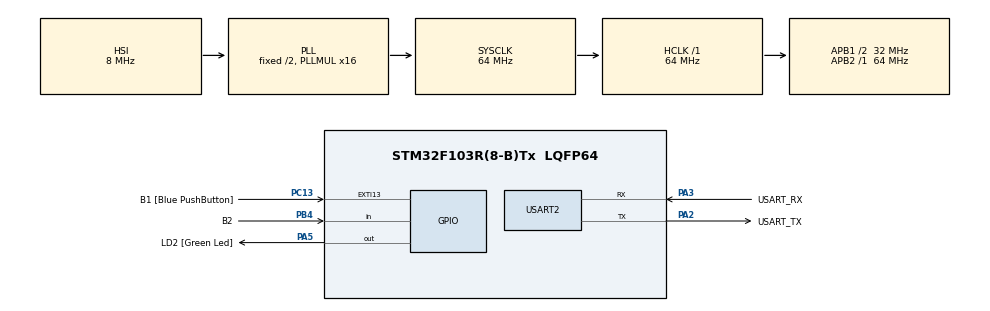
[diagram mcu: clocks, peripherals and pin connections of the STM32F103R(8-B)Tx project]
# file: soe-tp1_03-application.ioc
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FREERTOS.Tasks01=defaultTask,0,128,StartDefaultTask,Default,NULL,Dynamic,NULL,NULL
FREERTOS.configGENERATE_RUN_TIME_STATS=1
FREERTOS.configRECORD_STACK_HIGH_ADDRESS=1
FREERTOS.configUSE_STATS_FORMATTING_FUNCTIONS=1
FREERTOS.configUSE_TRACE_FACILITY=1
Mcu.Family=STM32F1
Mcu.Name=STM32F103R(8-B)Tx
Mcu.Package=LQFP64
NVIC.EXTI15_10_IRQn=true\:5\:0\:false\:false\:true\:true\:true\:true\:true
NVIC.PriorityGroup=NVIC_PRIORITYGROUP_4
NVIC.TIM2_IRQn=true\:5\:0\:false\:false\:true\:true\:true\:true\:true
NVIC.TIM4_IRQn=true\:15\:0\:false\:false\:true\:false\:false\:true\:true
NVIC.TimeBase=TIM4_IRQn
NVIC.TimeBaseIP=TIM4
PA13.GPIO_Label=TMS
PA13.Mode=Serial_Wire
PA13.Signal=SYS_JTMS-SWDIO
PA14.GPIO_Label=TCK
PA14.Mode=Serial_Wire
PA14.Signal=SYS_JTCK-SWCLK
PA2.GPIO_Label=USART_TX
PA2.GPIO_Mode=GPIO_MODE_AF_PP
PA2.GPIO_PuPd=GPIO_NOPULL
PA2.GPIO_Speed=GPIO_SPEED_FREQ_LOW
PA2.Mode=Asynchronous
PA2.Signal=USART2_TX
PA3.GPIO_Label=USART_RX
PA3.GPIO_Mode=GPIO_MODE_AF_PP
PA3.GPIO_PuPd=GPIO_NOPULL
PA3.GPIO_Speed=GPIO_SPEED_FREQ_LOW
PA3.Mode=Asynchronous
PA3.Signal=USART2_RX
PA5.GPIO_Label=LD2 [Green Led]
PA5.GPIO_ModeDefaultOutputPP=GPIO_MODE_OUTPUT_PP
PA5.GPIO_PuPd=GPIO_NOPULL
PA5.GPIO_Speed=GPIO_SPEED_FREQ_LOW
PA5.Signal=GPIO_Output
PB3.GPIO_Label=SWO
PB3.Signal=SYS_JTDO-TRACESWO
PB4.GPIO_Label=B2
PB4.Signal=GPIO_Input
PC13-TAMPER-RTC.GPIO_Label=B1 [Blue PushButton]
PC13-TAMPER-RTC.GPIO_PuPd=GPIO_NOPULL
PC13-TAMPER-RTC.Signal=GPXTI13
PC14-OSC32_IN.Mode=LSE-External-Oscillator
PC14-OSC32_IN.Signal=RCC_OSC32_IN
PC15-OSC32_OUT.Mode=LSE-External-Oscillator
PC15-OSC32_OUT.Signal=RCC_OSC32_OUT
PD0-OSC_IN.Mode=HSE-External-Clock-Source
PD0-OSC_IN.Signal=RCC_OSC_IN
PD1-OSC_OUT.Mode=HSE-External-Clock-Source
PD1-OSC_OUT.Signal=RCC_OSC_OUT
ProjectManager.HeapSize=0x200
ProjectManager.StackSize=0x400
ProjectManager.TargetToolchain=STM32CubeIDE
RCC.AHBFreq_Value=64000000
RCC.APB1CLKDivider=RCC_HCLK_DIV2
RCC.APB1Freq_Value=32000000
RCC.APB1TimFreq_Value=64000000
RCC.APB2Freq_Value=64000000
RCC.APB2TimFreq_Value=64000000
RCC.HCLKFreq_Value=64000000
RCC.PLLMUL=RCC_PLL_MUL16
RCC.RTCClockSelection=RCC_RTCCLKSOURCE_LSE
RCC.SYSCLKFreq_VALUE=64000000
RCC.SYSCLKSource=RCC_SYSCLKSOURCE_PLLCLK
RCC.USBFreq_Value=64000000
TIM2.Period=32000-1
TIM2.Prescaler=2-1
USART2.VirtualMode=VM_ASYNC
VP_FREERTOS_VS_CMSIS_V1.Mode=CMSIS_V1
VP_SYS_VS_tim4.Mode=TIM4
VP_TIM2_VS_ClockSourceINT.Mode=Internal
board=NUCLEO-F103RB

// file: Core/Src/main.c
/* USER CODE BEGIN Header */
/**
  ******************************************************************************
  * @file           : main.c
  * @brief          : Main program body
  ******************************************************************************
  * @attention
  *
  * Copyright (c) 2025 STMicroelectronics.
  * All rights reserved.
  *
  * This software is licensed under terms that can be found in the LICENSE file
  * in the root directory of this software component.
  * If no LICENSE file comes with this software, it is provided AS-IS.
  *
  ******************************************************************************
  */
/* USER CODE END Header */
#include "main.h"
#include "cmsis_os.h"

/* USER CODE BEGIN Includes */
/* Demo includes. */
#include "logger.h"
#include "dwt.h"

/* Application includes. */
#include "app.h"

/* USER CODE END Includes */

TIM_HandleTypeDef htim2;

UART_HandleTypeDef huart2;

osThreadId defaultTaskHandle;
/* USER CODE BEGIN PV */
volatile unsigned long ulHighFrequencyTimerTicks;

/* USER CODE END PV */

void SystemClock_Config(void);
static void MX_GPIO_Init(void);
static void MX_USART2_UART_Init(void);
static void MX_TIM2_Init(void);
void StartDefaultTask(void const * argument);

/* USER CODE BEGIN 0 */
#if (1 == LOGGER_CONFIG_USE_SEMIHOSTING)

extern void initialise_monitor_handles(void);

#endif

/* USER CODE END 0 */

int main(void)
{

  /* USER CODE BEGIN 1 */
  #if (1 == LOGGER_CONFIG_USE_SEMIHOSTING)

  initialise_monitor_handles();

  #endif

  /* USER CODE END 1 */

  /* MCU Configuration--------------------------------------------------------*/

  /* Reset of all peripherals, Initializes the Flash interface and the Systick. */
  HAL_Init();

  /* Configure the system clock */
  SystemClock_Config();

  /* Initialize all configured peripherals */
  MX_GPIO_Init();
  MX_USART2_UART_Init();
  MX_TIM2_Init();
  /* USER CODE BEGIN 2 */
  /* Start timer */
  HAL_TIM_Base_Start_IT(&htim2);

  /* add application, ... */
  app_init();

  #ifdef _defaultTask_
  /* USER CODE END 2 */

  /* Create the thread(s) */
  /* definition and creation of defaultTask */
  osThreadDef(defaultTask, StartDefaultTask, osPriorityNormal, 0, 128);
  defaultTaskHandle = osThreadCreate(osThread(defaultTask), NULL);

  /* USER CODE BEGIN RTOS_THREADS */
  #endif

  /* add threads, ... */
  /* USER CODE END RTOS_THREADS */

  /* Start scheduler */
  osKernelStart();

  /* We should never get here as control is now taken by the scheduler */

  /* Infinite loop */
  while (1)
  {

  }
}

void SystemClock_Config(void)
{
  RCC_OscInitTypeDef RCC_OscInitStruct = {0};
  RCC_ClkInitTypeDef RCC_ClkInitStruct = {0};

  /** Initializes the RCC Oscillators according to the specified parameters
  * in the RCC_OscInitTypeDef structure.
  */
  RCC_OscInitStruct.OscillatorType = RCC_OSCILLATORTYPE_HSI;
  RCC_OscInitStruct.HSIState = RCC_HSI_ON;
  RCC_OscInitStruct.HSICalibrationValue = RCC_HSICALIBRATION_DEFAULT;
  RCC_OscInitStruct.PLL.PLLState = RCC_PLL_ON;
  RCC_OscInitStruct.PLL.PLLSource = RCC_PLLSOURCE_HSI_DIV2;
  RCC_OscInitStruct.PLL.PLLMUL = RCC_PLL_MUL16;
  if (HAL_RCC_OscConfig(&RCC_OscInitStruct) != HAL_OK)
  {
    Error_Handler();
  }

  /** Initializes the CPU, AHB and APB buses clocks
  */
  RCC_ClkInitStruct.ClockType = RCC_CLOCKTYPE_HCLK|RCC_CLOCKTYPE_SYSCLK
                              |RCC_CLOCKTYPE_PCLK1|RCC_CLOCKTYPE_PCLK2;
  RCC_ClkInitStruct.SYSCLKSource = RCC_SYSCLKSOURCE_PLLCLK;
  RCC_ClkInitStruct.AHBCLKDivider = RCC_SYSCLK_DIV1;
  RCC_ClkInitStruct.APB1CLKDivider = RCC_HCLK_DIV2;
  RCC_ClkInitStruct.APB2CLKDivider = RCC_HCLK_DIV1;

  if (HAL_RCC_ClockConfig(&RCC_ClkInitStruct, FLASH_LATENCY_2) != HAL_OK)
  {
    Error_Handler();
  }
}

static void MX_TIM2_Init(void)
{

  TIM_ClockConfigTypeDef sClockSourceConfig = {0};
  TIM_MasterConfigTypeDef sMasterConfig = {0};

  htim2.Instance = TIM2;
  htim2.Init.Prescaler = 2-1;
  htim2.Init.CounterMode = TIM_COUNTERMODE_UP;
  htim2.Init.Period = 32000-1;
  htim2.Init.ClockDivision = TIM_CLOCKDIVISION_DIV1;
  htim2.Init.AutoReloadPreload = TIM_AUTORELOAD_PRELOAD_DISABLE;
  if (HAL_TIM_Base_Init(&htim2) != HAL_OK)
  {
    Error_Handler();
  }
  sClockSourceConfig.ClockSource = TIM_CLOCKSOURCE_INTERNAL;
  if (HAL_TIM_ConfigClockSource(&htim2, &sClockSourceConfig) != HAL_OK)
  {
    Error_Handler();
  }
  sMasterConfig.MasterOutputTrigger = TIM_TRGO_RESET;
  sMasterConfig.MasterSlaveMode = TIM_MASTERSLAVEMODE_DISABLE;
  if (HAL_TIMEx_MasterConfigSynchronization(&htim2, &sMasterConfig) != HAL_OK)
  {
    Error_Handler();
  }

}

static void MX_USART2_UART_Init(void)
{

  huart2.Instance = USART2;
  huart2.Init.BaudRate = 115200;
  huart2.Init.WordLength = UART_WORDLENGTH_8B;
  huart2.Init.StopBits = UART_STOPBITS_1;
  huart2.Init.Parity = UART_PARITY_NONE;
  huart2.Init.Mode = UART_MODE_TX_RX;
  huart2.Init.HwFlowCtl = UART_HWCONTROL_NONE;
  huart2.Init.OverSampling = UART_OVERSAMPLING_16;
  if (HAL_UART_Init(&huart2) != HAL_OK)
  {
    Error_Handler();
  }

}

static void MX_GPIO_Init(void)
{
  GPIO_InitTypeDef GPIO_InitStruct = {0};

  /* GPIO Ports Clock Enable */
  __HAL_RCC_GPIOC_CLK_ENABLE();
  __HAL_RCC_GPIOD_CLK_ENABLE();
  __HAL_RCC_GPIOA_CLK_ENABLE();
  __HAL_RCC_GPIOB_CLK_ENABLE();

  /*Configure GPIO pin Output Level */
  HAL_GPIO_WritePin(LD2_GPIO_Port, LD2_Pin, GPIO_PIN_RESET);

  /*Configure GPIO pin : B1_Pin */
  GPIO_InitStruct.Pin = B1_Pin;
  GPIO_InitStruct.Mode = GPIO_MODE_IT_RISING;
  GPIO_InitStruct.Pull = GPIO_NOPULL;
  HAL_GPIO_Init(B1_GPIO_Port, &GPIO_InitStruct);

  /*Configure GPIO pin : LD2_Pin */
  GPIO_InitStruct.Pin = LD2_Pin;
  GPIO_InitStruct.Mode = GPIO_MODE_OUTPUT_PP;
  GPIO_InitStruct.Pull = GPIO_NOPULL;
  GPIO_InitStruct.Speed = GPIO_SPEED_FREQ_LOW;
  HAL_GPIO_Init(LD2_GPIO_Port, &GPIO_InitStruct);

  /*Configure GPIO pin : B2_Pin */
  GPIO_InitStruct.Pin = B2_Pin;
  GPIO_InitStruct.Mode = GPIO_MODE_INPUT;
  GPIO_InitStruct.Pull = GPIO_NOPULL;
  HAL_GPIO_Init(B2_GPIO_Port, &GPIO_InitStruct);

  /* EXTI interrupt init*/
  HAL_NVIC_SetPriority(EXTI15_10_IRQn, 5, 0);
  HAL_NVIC_EnableIRQ(EXTI15_10_IRQn);

}

/* USER CODE BEGIN 4 */
/* Functions needed when configGENERATE_RUN_TIME_STATS is on */
void configureTimerForRunTimeStats(void)
{
    ulHighFrequencyTimerTicks = 0;
}

unsigned long getRunTimeCounterValue(void)
{
	return ulHighFrequencyTimerTicks;
}

/* USER CODE END 4 */

void StartDefaultTask(void const * argument)
{
  for(;;)
  {
    osDelay(1);
  }
}

void HAL_TIM_PeriodElapsedCallback(TIM_HandleTypeDef *htim)
{
  if (htim->Instance == TIM4) {
    HAL_IncTick();
  }
  /* USER CODE BEGIN Callback 1 */
	if (htim->Instance == TIM2)
	{
		ulHighFrequencyTimerTicks++;
	}

  /* USER CODE END Callback 1 */
}

void Error_Handler(void)
{
  __disable_irq();
  while (1)
  {
  }
}

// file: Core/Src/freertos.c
/* USER CODE BEGIN Header */
/**
  ******************************************************************************
  * File Name          : freertos.c
  * Description        : Code for freertos applications
  ******************************************************************************
  * @attention
  *
  * Copyright (c) 2026 STMicroelectronics.
  * All rights reserved.
  *
  * This software is licensed under terms that can be found in the LICENSE file
  * in the root directory of this software component.
  * If no LICENSE file comes with this software, it is provided AS-IS.
  *
  ******************************************************************************
  */
/* USER CODE END Header */

#include "FreeRTOS.h"
#include "task.h"
#include "main.h"

/* GetIdleTaskMemory prototype (linked to static allocation support) */
void vApplicationGetIdleTaskMemory( StaticTask_t **ppxIdleTaskTCBBuffer, StackType_t **ppxIdleTaskStackBuffer, uint32_t *pulIdleTaskStackSize );

/* Hook prototypes */
void configureTimerForRunTimeStats(void);
unsigned long getRunTimeCounterValue(void);

/* USER CODE BEGIN 1 */
/* Functions needed when configGENERATE_RUN_TIME_STATS is on */
__weak void configureTimerForRunTimeStats(void)
{

}

__weak unsigned long getRunTimeCounterValue(void)
{
return 0;
}
/* USER CODE END 1 */

/* USER CODE BEGIN GET_IDLE_TASK_MEMORY */
static StaticTask_t xIdleTaskTCBBuffer;
static StackType_t xIdleStack[configMINIMAL_STACK_SIZE];

void vApplicationGetIdleTaskMemory( StaticTask_t **ppxIdleTaskTCBBuffer, StackType_t **ppxIdleTaskStackBuffer, uint32_t *pulIdleTaskStackSize )
{
  *ppxIdleTaskTCBBuffer = &xIdleTaskTCBBuffer;
  *ppxIdleTaskStackBuffer = &xIdleStack[0];
  *pulIdleTaskStackSize = configMINIMAL_STACK_SIZE;
  /* place for user code */
}
/* USER CODE END GET_IDLE_TASK_MEMORY */
